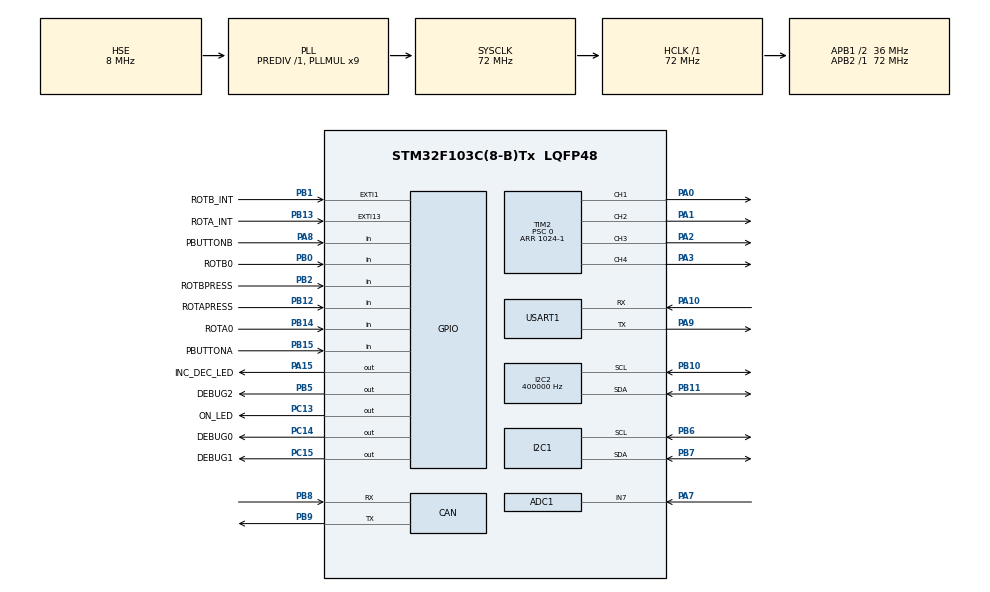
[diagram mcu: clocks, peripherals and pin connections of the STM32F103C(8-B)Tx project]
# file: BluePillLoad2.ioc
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ADC1.Channel-3\#ChannelRegularConversion=ADC_CHANNEL_7
ADC1.NbrOfConversionFlag=1
ADC1.Rank-3\#ChannelRegularConversion=1
ADC1.SamplingTime-3\#ChannelRegularConversion=ADC_SAMPLETIME_1CYCLE_5
ADC1.master=1
CAN.CalculateTimeBit=1333
CAN.CalculateTimeQuantum=444.44444444444446
Dma.I2C1_RX.0.Direction=DMA_PERIPH_TO_MEMORY
Dma.I2C1_RX.0.Instance=DMA1_Channel7
Dma.I2C1_RX.0.MemDataAlignment=DMA_MDATAALIGN_BYTE
Dma.I2C1_RX.0.MemInc=DMA_MINC_ENABLE
Dma.I2C1_RX.0.Mode=DMA_NORMAL
Dma.I2C1_RX.0.PeriphDataAlignment=DMA_PDATAALIGN_BYTE
Dma.I2C1_RX.0.PeriphInc=DMA_PINC_DISABLE
Dma.I2C1_RX.0.Priority=DMA_PRIORITY_LOW
Dma.I2C1_TX.1.Direction=DMA_MEMORY_TO_PERIPH
Dma.I2C1_TX.1.Instance=DMA1_Channel6
Dma.I2C1_TX.1.MemDataAlignment=DMA_MDATAALIGN_BYTE
Dma.I2C1_TX.1.MemInc=DMA_MINC_ENABLE
Dma.I2C1_TX.1.Mode=DMA_NORMAL
Dma.I2C1_TX.1.PeriphDataAlignment=DMA_PDATAALIGN_BYTE
Dma.I2C1_TX.1.PeriphInc=DMA_PINC_DISABLE
Dma.I2C1_TX.1.Priority=DMA_PRIORITY_LOW
Dma.I2C2_RX.2.Direction=DMA_PERIPH_TO_MEMORY
Dma.I2C2_RX.2.Instance=DMA1_Channel5
Dma.I2C2_RX.2.MemDataAlignment=DMA_MDATAALIGN_BYTE
Dma.I2C2_RX.2.MemInc=DMA_MINC_ENABLE
Dma.I2C2_RX.2.Mode=DMA_NORMAL
Dma.I2C2_RX.2.PeriphDataAlignment=DMA_PDATAALIGN_BYTE
Dma.I2C2_RX.2.PeriphInc=DMA_PINC_DISABLE
Dma.I2C2_RX.2.Priority=DMA_PRIORITY_LOW
Dma.I2C2_TX.3.Direction=DMA_MEMORY_TO_PERIPH
Dma.I2C2_TX.3.Instance=DMA1_Channel4
Dma.I2C2_TX.3.MemDataAlignment=DMA_MDATAALIGN_BYTE
Dma.I2C2_TX.3.MemInc=DMA_MINC_ENABLE
Dma.I2C2_TX.3.Mode=DMA_NORMAL
Dma.I2C2_TX.3.PeriphDataAlignment=DMA_PDATAALIGN_BYTE
Dma.I2C2_TX.3.PeriphInc=DMA_PINC_DISABLE
Dma.I2C2_TX.3.Priority=DMA_PRIORITY_LOW
Dma.Request0=I2C1_RX
Dma.Request1=I2C1_TX
Dma.Request2=I2C2_RX
Dma.Request3=I2C2_TX
I2C1.I2C_Mode=I2C_Fast
I2C2.ClockSpeed=400000
I2C2.I2C_Mode=I2C_Fast
Mcu.Family=STM32F1
Mcu.Name=STM32F103C(8-B)Tx
Mcu.Package=LQFP48
NVIC.ADC1_2_IRQn=true\:0\:0\:false\:false\:true\:true\:true
NVIC.DMA1_Channel4_IRQn=true\:0\:0\:false\:false\:true\:false\:true
NVIC.DMA1_Channel5_IRQn=true\:0\:0\:false\:false\:true\:false\:true
NVIC.DMA1_Channel6_IRQn=true\:0\:0\:false\:false\:true\:false\:true
NVIC.DMA1_Channel7_IRQn=true\:0\:0\:false\:false\:true\:false\:true
NVIC.EXTI15_10_IRQn=true\:0\:0\:false\:false\:true\:true\:true
NVIC.EXTI1_IRQn=true\:0\:0\:false\:false\:true\:true\:true
NVIC.I2C1_ER_IRQn=true\:0\:0\:false\:false\:true\:true\:true
NVIC.I2C1_EV_IRQn=true\:0\:0\:false\:false\:true\:true\:true
NVIC.I2C2_ER_IRQn=true\:0\:0\:false\:false\:true\:true\:true
NVIC.I2C2_EV_IRQn=true\:0\:0\:false\:false\:true\:true\:true
NVIC.PriorityGroup=NVIC_PRIORITYGROUP_4
NVIC.USART1_IRQn=true\:0\:0\:false\:false\:true\:true\:true
PA0-WKUP.Signal=S_TIM2_CH1_ETR
PA1.Signal=S_TIM2_CH2
PA10.GPIO_PuPd=GPIO_PULLUP
PA10.Mode=Asynchronous
PA10.Signal=USART1_RX
PA13.Mode=Serial_Wire
PA13.Signal=SYS_JTMS-SWDIO
PA14.Mode=Serial_Wire
PA14.Signal=SYS_JTCK-SWCLK
PA15.GPIO_Label=INC_DEC_LED
PA15.Signal=GPIO_Output
PA2.Signal=S_TIM2_CH3
PA3.Signal=S_TIM2_CH4
PA7.Signal=ADCx_IN7
PA8.GPIO_Label=PBUTTONB
PA8.GPIO_PuPd=GPIO_PULLUP
PA8.Signal=GPIO_Input
PA9.Mode=Asynchronous
PA9.Signal=USART1_TX
PB0.GPIO_Label=ROTB0
PB0.GPIO_PuPd=GPIO_PULLUP
PB0.Signal=GPIO_Input
PB1.GPIO_Label=ROTB_INT
PB1.GPIO_PuPd=GPIO_PULLUP
PB1.Signal=GPXTI1
PB10.Mode=I2C
PB10.Signal=I2C2_SCL
PB11.Mode=I2C
PB11.Signal=I2C2_SDA
PB12.GPIO_Label=ROTAPRESS
PB12.GPIO_PuPd=GPIO_PULLUP
PB12.Signal=GPIO_Input
PB13.GPIO_Label=ROTA_INT
PB13.GPIO_PuPd=GPIO_PULLUP
PB13.Signal=GPXTI13
PB14.GPIO_Label=ROTA0
PB14.GPIO_PuPd=GPIO_PULLUP
PB14.Signal=GPIO_Input
PB15.GPIO_Label=PBUTTONA
PB15.GPIO_PuPd=GPIO_PULLUP
PB15.Signal=GPIO_Input
PB2.GPIO_Label=ROTBPRESS
PB2.GPIO_PuPd=GPIO_PULLUP
PB2.Signal=GPIO_Input
PB5.GPIO_Label=DEBUG2
PB5.Signal=GPIO_Output
PB6.Mode=I2C
PB6.Signal=I2C1_SCL
PB7.Mode=I2C
PB7.Signal=I2C1_SDA
PB8.Mode=Master
PB8.Signal=CAN_RX
PB9.Mode=Master
PB9.Signal=CAN_TX
PC13-TAMPER-RTC.GPIO_Label=ON_LED
PC13-TAMPER-RTC.Signal=GPIO_Output
PC14-OSC32_IN.GPIO_Label=DEBUG0
PC14-OSC32_IN.Signal=GPIO_Output
PC15-OSC32_OUT.GPIO_Label=DEBUG1
PC15-OSC32_OUT.Signal=GPIO_Output
PD0-OSC_IN.Mode=HSE-External-Oscillator
PD0-OSC_IN.Signal=RCC_OSC_IN
PD1-OSC_OUT.Mode=HSE-External-Oscillator
PD1-OSC_OUT.Signal=RCC_OSC_OUT
ProjectManager.HeapSize=0x200
ProjectManager.StackSize=0x400
ProjectManager.TargetToolchain=STM32CubeIDE
RCC.ADCPresc=RCC_ADCPCLK2_DIV6
RCC.AHBFreq_Value=72000000
RCC.APB1CLKDivider=RCC_HCLK_DIV2
RCC.APB1Freq_Value=36000000
RCC.APB1TimFreq_Value=72000000
RCC.APB2Freq_Value=72000000
RCC.APB2TimFreq_Value=72000000
RCC.HCLKFreq_Value=72000000
RCC.PLLMUL=RCC_PLL_MUL9
RCC.PLLSourceVirtual=RCC_PLLSOURCE_HSE
RCC.SYSCLKFreq_VALUE=72000000
RCC.SYSCLKSource=RCC_SYSCLKSOURCE_PLLCLK
RCC.USBFreq_Value=48000000
RCC.USBPrescaler=RCC_USBCLKSOURCE_PLL_DIV1_5
SH.ADCx_IN7.0=ADC1_IN7,IN7
SH.S_TIM2_CH1_ETR.0=TIM2_CH1,PWM Generation1 CH1
SH.S_TIM2_CH2.0=TIM2_CH2,PWM Generation2 CH2
SH.S_TIM2_CH3.0=TIM2_CH3,PWM Generation3 CH3
SH.S_TIM2_CH4.0=TIM2_CH4,PWM Generation4 CH4
TIM2.AutoReloadPreload=TIM_AUTORELOAD_PRELOAD_ENABLE
TIM2.Channel-PWM\ Generation1\ CH1=TIM_CHANNEL_1
TIM2.Channel-PWM\ Generation2\ CH2=TIM_CHANNEL_2
TIM2.Channel-PWM\ Generation3\ CH3=TIM_CHANNEL_3
TIM2.Channel-PWM\ Generation4\ CH4=TIM_CHANNEL_4
TIM2.ClockDivision=TIM_CLOCKDIVISION_DIV1
TIM2.OC1Preload_PWM=DISABLE
TIM2.OC2Preload_PWM=DISABLE
TIM2.OC3Preload_PWM=DISABLE
TIM2.OC4Preload_PWM=DISABLE
TIM2.OCPolarity_1=TIM_OCPOLARITY_HIGH
TIM2.Period=1024-1
TIM2.Prescaler=0
USART1.VirtualMode=VM_ASYNC
VP_TIM2_VS_ClockSourceINT.Mode=Internal
board=custom

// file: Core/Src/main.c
/* USER CODE BEGIN Header */
/**
  ******************************************************************************
  * @file           : main.c
  * @brief          : Main program body
  ******************************************************************************
  * @attention
  *
  * <h2><center>&copy; Copyright (c) 2023 STMicroelectronics.
  * All rights reserved.</center></h2>
  *
  * This software component is licensed by ST under BSD 3-Clause license,
  * the "License"; You may not use this file except in compliance with the
  * License. You may obtain a copy of the License at:
  *                        opensource.org/licenses/BSD-3-Clause
  *
  ******************************************************************************
  */
/* USER CODE END Header */

#include "main.h"

/* USER CODE BEGIN Includes */
#include "load.h"
#include "debug_pin.h"
#include "ina226.h"
#include "serial.h"
#include "i2c_check.h"
#include "i2c_lcd.h"

/* USER CODE END Includes */

ADC_HandleTypeDef hadc1;

CAN_HandleTypeDef hcan;

I2C_HandleTypeDef hi2c1;
I2C_HandleTypeDef hi2c2;
DMA_HandleTypeDef hdma_i2c1_rx;
DMA_HandleTypeDef hdma_i2c1_tx;
DMA_HandleTypeDef hdma_i2c2_rx;
DMA_HandleTypeDef hdma_i2c2_tx;

TIM_HandleTypeDef htim2;

UART_HandleTypeDef huart1;

/* USER CODE BEGIN PV */

static struct i2c_lcd __lcd;
struct i2c_lcd *lcd = &__lcd;

/* USER CODE END PV */

void SystemClock_Config(void);
static void MX_GPIO_Init(void);
static void MX_DMA_Init(void);
static void MX_TIM2_Init(void);
static void MX_I2C2_Init(void);
static void MX_ADC1_Init(void);
static void MX_I2C1_Init(void);
static void MX_CAN_Init(void);
static void MX_USART1_UART_Init(void);

/* USER CODE BEGIN 0 */
struct ina226_ctl ina226;

void check_i2c_buses(void)
{
	serial_send_str("Scanning i2c bus hi2c1...\n");
	i2c_list_bus(&hi2c1);
	serial_send_str("Scanning i2c bus hi2c2...\n");
	i2c_list_bus(&hi2c2);
}

void lcd_test(struct i2c_lcd *lcd)
{
	 /* Clear buffer */
	  HD44780_Clear(lcd);

	  /* Hide characters */
	  HD44780_SetDisplayVisible(lcd, 0);
	  HD44780_SetCursorVisible(lcd, 1);
	  HD44780_SetCursor(lcd, 0,0);
	  HD44780_PrintStr(lcd, "HELLO STM32!!!");
	  HD44780_PrintSpecialChar(lcd, 0);

	  /* Show characters */
	  HD44780_SetDisplayVisible(lcd, 1);

	  /* Move position */
	  HD44780_SetCursor(lcd, 0, 1);
	  HD44780_PrintStr(lcd, "BYE STM32!!!");
	  HD44780_PrintSpecialChar(lcd, 1);
	  HD44780_SetCursor(lcd, 0, 2);
	  HD44780_PrintStr(lcd, "Line 3");

	  HD44780_SetCursor(lcd, 0, 23);
	  HD44780_PrintStr(lcd, "Line 4-8901234567890");
	  /* Blink cursor */
	  HD44780_SetBlink(lcd,1);
	  HD44780_SetBlink(lcd, 0);
	  HD44780_SetCursorVisible(lcd, 1);
	  HD44780_SetCursorVisible(lcd, 0);
	  HD44780_SetBacklight(lcd,0);
	  HD44780_SetBacklight(lcd, 1);
}
/* USER CODE END 0 */

int main(void)
{

  /* MCU Configuration--------------------------------------------------------*/

  /* Reset of all peripherals, Initializes the Flash interface and the Systick. */
  HAL_Init();

  /* Configure the system clock */
  SystemClock_Config();

  /* Initialize all configured peripherals */
  MX_GPIO_Init();
  MX_DMA_Init();
  MX_TIM2_Init();
  MX_I2C2_Init();
  MX_ADC1_Init();
  MX_I2C1_Init();
  MX_CAN_Init();
  MX_USART1_UART_Init();
  /* USER CODE BEGIN 2 */

  TIM2->CCR1 = 0;
  TIM2->CCR2 = 0;
  HAL_TIM_PWM_Start(&htim2, TIM_CHANNEL_1);
  HAL_TIM_PWM_Start(&htim2, TIM_CHANNEL_2);

  /* USER CODE BEGIN 2 */

  serial_send_str("main() starting\n");

  debug_pin_init();
  load_init();
  //check_i2c_buses();
  serial_send_str("ina226 init...\n");
  ina226_init(&ina226, 0x40);
  serial_send_str("lcd init...\n");
  lcd = &__lcd;
  HD44780_Init(lcd, &hi2c2, 0x27, 4);
  //serial_send_str("lcd test...\n");
  //lcd_test();

  HD44780_SetDisplayVisible(lcd, 1);
  HD44780_SetCursorVisible(lcd, 0);
  HD44780_SetBacklight(lcd, 1);

  serial_send_str("main loop starting\n");

  /* USER CODE END 2 */

  /* Infinite loop */
  while (1)
  {

    /* USER CODE BEGIN 3 */
	load_poll();

	/* Clear debug to show end of activity.
	 * debug_0 is low while sleeping.
	 */
	debug_0(0);

	__WFI();

	/*
	 * Although we set debug pin here, it should also be set in ISRs.
	 */
	debug_0(1);
  }
  /* USER CODE END 3 */
}

void SystemClock_Config(void)
{
  RCC_OscInitTypeDef RCC_OscInitStruct = {0};
  RCC_ClkInitTypeDef RCC_ClkInitStruct = {0};
  RCC_PeriphCLKInitTypeDef PeriphClkInit = {0};

  /** Initializes the CPU, AHB and APB busses clocks
  */
  RCC_OscInitStruct.OscillatorType = RCC_OSCILLATORTYPE_HSE;
  RCC_OscInitStruct.HSEState = RCC_HSE_ON;
  RCC_OscInitStruct.HSEPredivValue = RCC_HSE_PREDIV_DIV1;
  RCC_OscInitStruct.HSIState = RCC_HSI_ON;
  RCC_OscInitStruct.PLL.PLLState = RCC_PLL_ON;
  RCC_OscInitStruct.PLL.PLLSource = RCC_PLLSOURCE_HSE;
  RCC_OscInitStruct.PLL.PLLMUL = RCC_PLL_MUL9;
  if (HAL_RCC_OscConfig(&RCC_OscInitStruct) != HAL_OK)
  {
    Error_Handler();
  }
  /** Initializes the CPU, AHB and APB busses clocks
  */
  RCC_ClkInitStruct.ClockType = RCC_CLOCKTYPE_HCLK|RCC_CLOCKTYPE_SYSCLK
                              |RCC_CLOCKTYPE_PCLK1|RCC_CLOCKTYPE_PCLK2;
  RCC_ClkInitStruct.SYSCLKSource = RCC_SYSCLKSOURCE_PLLCLK;
  RCC_ClkInitStruct.AHBCLKDivider = RCC_SYSCLK_DIV1;
  RCC_ClkInitStruct.APB1CLKDivider = RCC_HCLK_DIV2;
  RCC_ClkInitStruct.APB2CLKDivider = RCC_HCLK_DIV1;

  if (HAL_RCC_ClockConfig(&RCC_ClkInitStruct, FLASH_LATENCY_2) != HAL_OK)
  {
    Error_Handler();
  }
  PeriphClkInit.PeriphClockSelection = RCC_PERIPHCLK_ADC;
  PeriphClkInit.AdcClockSelection = RCC_ADCPCLK2_DIV6;
  if (HAL_RCCEx_PeriphCLKConfig(&PeriphClkInit) != HAL_OK)
  {
    Error_Handler();
  }
}

static void MX_ADC1_Init(void)
{

  ADC_ChannelConfTypeDef sConfig = {0};

  /** Common config
  */
  hadc1.Instance = ADC1;
  hadc1.Init.ScanConvMode = ADC_SCAN_DISABLE;
  hadc1.Init.ContinuousConvMode = DISABLE;
  hadc1.Init.DiscontinuousConvMode = DISABLE;
  hadc1.Init.ExternalTrigConv = ADC_SOFTWARE_START;
  hadc1.Init.DataAlign = ADC_DATAALIGN_RIGHT;
  hadc1.Init.NbrOfConversion = 1;
  if (HAL_ADC_Init(&hadc1) != HAL_OK)
  {
    Error_Handler();
  }
  /** Configure Regular Channel
  */
  sConfig.Channel = ADC_CHANNEL_7;
  sConfig.Rank = ADC_REGULAR_RANK_1;
  sConfig.SamplingTime = ADC_SAMPLETIME_1CYCLE_5;
  if (HAL_ADC_ConfigChannel(&hadc1, &sConfig) != HAL_OK)
  {
    Error_Handler();
  }

}

static void MX_CAN_Init(void)
{

  hcan.Instance = CAN1;
  hcan.Init.Prescaler = 16;
  hcan.Init.Mode = CAN_MODE_NORMAL;
  hcan.Init.SyncJumpWidth = CAN_SJW_1TQ;
  hcan.Init.TimeSeg1 = CAN_BS1_1TQ;
  hcan.Init.TimeSeg2 = CAN_BS2_1TQ;
  hcan.Init.TimeTriggeredMode = DISABLE;
  hcan.Init.AutoBusOff = DISABLE;
  hcan.Init.AutoWakeUp = DISABLE;
  hcan.Init.AutoRetransmission = DISABLE;
  hcan.Init.ReceiveFifoLocked = DISABLE;
  hcan.Init.TransmitFifoPriority = DISABLE;
  if (HAL_CAN_Init(&hcan) != HAL_OK)
  {
    Error_Handler();
  }

}

static void MX_I2C1_Init(void)
{

  hi2c1.Instance = I2C1;
  hi2c1.Init.ClockSpeed = 400000;
  hi2c1.Init.DutyCycle = I2C_DUTYCYCLE_2;
  hi2c1.Init.OwnAddress1 = 0;
  hi2c1.Init.AddressingMode = I2C_ADDRESSINGMODE_7BIT;
  hi2c1.Init.DualAddressMode = I2C_DUALADDRESS_DISABLE;
  hi2c1.Init.OwnAddress2 = 0;
  hi2c1.Init.GeneralCallMode = I2C_GENERALCALL_DISABLE;
  hi2c1.Init.NoStretchMode = I2C_NOSTRETCH_DISABLE;
  if (HAL_I2C_Init(&hi2c1) != HAL_OK)
  {
    Error_Handler();
  }

}

static void MX_I2C2_Init(void)
{

  hi2c2.Instance = I2C2;
  hi2c2.Init.ClockSpeed = 400000;
  hi2c2.Init.DutyCycle = I2C_DUTYCYCLE_2;
  hi2c2.Init.OwnAddress1 = 0;
  hi2c2.Init.AddressingMode = I2C_ADDRESSINGMODE_7BIT;
  hi2c2.Init.DualAddressMode = I2C_DUALADDRESS_DISABLE;
  hi2c2.Init.OwnAddress2 = 0;
  hi2c2.Init.GeneralCallMode = I2C_GENERALCALL_DISABLE;
  hi2c2.Init.NoStretchMode = I2C_NOSTRETCH_DISABLE;
  if (HAL_I2C_Init(&hi2c2) != HAL_OK)
  {
    Error_Handler();
  }

}

static void MX_TIM2_Init(void)
{

  TIM_ClockConfigTypeDef sClockSourceConfig = {0};
  TIM_MasterConfigTypeDef sMasterConfig = {0};
  TIM_OC_InitTypeDef sConfigOC = {0};

  htim2.Instance = TIM2;
  htim2.Init.Prescaler = 0;
  htim2.Init.CounterMode = TIM_COUNTERMODE_UP;
  htim2.Init.Period = 1024-1;
  htim2.Init.ClockDivision = TIM_CLOCKDIVISION_DIV1;
  htim2.Init.AutoReloadPreload = TIM_AUTORELOAD_PRELOAD_ENABLE;
  if (HAL_TIM_Base_Init(&htim2) != HAL_OK)
  {
    Error_Handler();
  }
  sClockSourceConfig.ClockSource = TIM_CLOCKSOURCE_INTERNAL;
  if (HAL_TIM_ConfigClockSource(&htim2, &sClockSourceConfig) != HAL_OK)
  {
    Error_Handler();
  }
  if (HAL_TIM_PWM_Init(&htim2) != HAL_OK)
  {
    Error_Handler();
  }
  sMasterConfig.MasterOutputTrigger = TIM_TRGO_RESET;
  sMasterConfig.MasterSlaveMode = TIM_MASTERSLAVEMODE_DISABLE;
  if (HAL_TIMEx_MasterConfigSynchronization(&htim2, &sMasterConfig) != HAL_OK)
  {
    Error_Handler();
  }
  sConfigOC.OCMode = TIM_OCMODE_PWM1;
  sConfigOC.Pulse = 0;
  sConfigOC.OCPolarity = TIM_OCPOLARITY_HIGH;
  sConfigOC.OCFastMode = TIM_OCFAST_DISABLE;
  if (HAL_TIM_PWM_ConfigChannel(&htim2, &sConfigOC, TIM_CHANNEL_1) != HAL_OK)
  {
    Error_Handler();
  }
  __HAL_TIM_DISABLE_OCxPRELOAD(&htim2, TIM_CHANNEL_1);
  if (HAL_TIM_PWM_ConfigChannel(&htim2, &sConfigOC, TIM_CHANNEL_2) != HAL_OK)
  {
    Error_Handler();
  }
  __HAL_TIM_DISABLE_OCxPRELOAD(&htim2, TIM_CHANNEL_2);
  if (HAL_TIM_PWM_ConfigChannel(&htim2, &sConfigOC, TIM_CHANNEL_3) != HAL_OK)
  {
    Error_Handler();
  }
  __HAL_TIM_DISABLE_OCxPRELOAD(&htim2, TIM_CHANNEL_3);
  if (HAL_TIM_PWM_ConfigChannel(&htim2, &sConfigOC, TIM_CHANNEL_4) != HAL_OK)
  {
    Error_Handler();
  }
  __HAL_TIM_DISABLE_OCxPRELOAD(&htim2, TIM_CHANNEL_4);
  HAL_TIM_MspPostInit(&htim2);

}

static void MX_USART1_UART_Init(void)
{

  huart1.Instance = USART1;
  huart1.Init.BaudRate = 115200;
  huart1.Init.WordLength = UART_WORDLENGTH_8B;
  huart1.Init.StopBits = UART_STOPBITS_1;
  huart1.Init.Parity = UART_PARITY_NONE;
  huart1.Init.Mode = UART_MODE_TX_RX;
  huart1.Init.HwFlowCtl = UART_HWCONTROL_NONE;
  huart1.Init.OverSampling = UART_OVERSAMPLING_16;
  if (HAL_UART_Init(&huart1) != HAL_OK)
  {
    Error_Handler();
  }

}

static void MX_DMA_Init(void)
{

  /* DMA controller clock enable */
  __HAL_RCC_DMA1_CLK_ENABLE();

  /* DMA interrupt init */
  /* DMA1_Channel4_IRQn interrupt configuration */
  HAL_NVIC_SetPriority(DMA1_Channel4_IRQn, 0, 0);
  HAL_NVIC_EnableIRQ(DMA1_Channel4_IRQn);
  /* DMA1_Channel5_IRQn interrupt configuration */
  HAL_NVIC_SetPriority(DMA1_Channel5_IRQn, 0, 0);
  HAL_NVIC_EnableIRQ(DMA1_Channel5_IRQn);
  /* DMA1_Channel6_IRQn interrupt configuration */
  HAL_NVIC_SetPriority(DMA1_Channel6_IRQn, 0, 0);
  HAL_NVIC_EnableIRQ(DMA1_Channel6_IRQn);
  /* DMA1_Channel7_IRQn interrupt configuration */
  HAL_NVIC_SetPriority(DMA1_Channel7_IRQn, 0, 0);
  HAL_NVIC_EnableIRQ(DMA1_Channel7_IRQn);

}

static void MX_GPIO_Init(void)
{
  GPIO_InitTypeDef GPIO_InitStruct = {0};

  /* GPIO Ports Clock Enable */
  __HAL_RCC_GPIOC_CLK_ENABLE();
  __HAL_RCC_GPIOD_CLK_ENABLE();
  __HAL_RCC_GPIOA_CLK_ENABLE();
  __HAL_RCC_GPIOB_CLK_ENABLE();

  /*Configure GPIO pin Output Level */
  HAL_GPIO_WritePin(GPIOC, ON_LED_Pin|DEBUG0_Pin|DEBUG1_Pin, GPIO_PIN_RESET);

  /*Configure GPIO pin Output Level */
  HAL_GPIO_WritePin(INC_DEC_LED_GPIO_Port, INC_DEC_LED_Pin, GPIO_PIN_RESET);

  /*Configure GPIO pin Output Level */
  HAL_GPIO_WritePin(DEBUG2_GPIO_Port, DEBUG2_Pin, GPIO_PIN_RESET);

  /*Configure GPIO pins : ON_LED_Pin DEBUG0_Pin DEBUG1_Pin */
  GPIO_InitStruct.Pin = ON_LED_Pin|DEBUG0_Pin|DEBUG1_Pin;
  GPIO_InitStruct.Mode = GPIO_MODE_OUTPUT_PP;
  GPIO_InitStruct.Pull = GPIO_NOPULL;
  GPIO_InitStruct.Speed = GPIO_SPEED_FREQ_LOW;
  HAL_GPIO_Init(GPIOC, &GPIO_InitStruct);

  /*Configure GPIO pins : ROTB0_Pin ROTBPRESS_Pin ROTAPRESS_Pin ROTA0_Pin
                           PBUTTONA_Pin */
  GPIO_InitStruct.Pin = ROTB0_Pin|ROTBPRESS_Pin|ROTAPRESS_Pin|ROTA0_Pin
                          |PBUTTONA_Pin;
  GPIO_InitStruct.Mode = GPIO_MODE_INPUT;
  GPIO_InitStruct.Pull = GPIO_PULLUP;
  HAL_GPIO_Init(GPIOB, &GPIO_InitStruct);

  /*Configure GPIO pins : ROTB_INT_Pin ROTA_INT_Pin */
  GPIO_InitStruct.Pin = ROTB_INT_Pin|ROTA_INT_Pin;
  GPIO_InitStruct.Mode = GPIO_MODE_IT_RISING;
  GPIO_InitStruct.Pull = GPIO_PULLUP;
  HAL_GPIO_Init(GPIOB, &GPIO_InitStruct);

  /*Configure GPIO pin : PBUTTONB_Pin */
  GPIO_InitStruct.Pin = PBUTTONB_Pin;
  GPIO_InitStruct.Mode = GPIO_MODE_INPUT;
  GPIO_InitStruct.Pull = GPIO_PULLUP;
  HAL_GPIO_Init(PBUTTONB_GPIO_Port, &GPIO_InitStruct);

  /*Configure GPIO pin : INC_DEC_LED_Pin */
  GPIO_InitStruct.Pin = INC_DEC_LED_Pin;
  GPIO_InitStruct.Mode = GPIO_MODE_OUTPUT_PP;
  GPIO_InitStruct.Pull = GPIO_NOPULL;
  GPIO_InitStruct.Speed = GPIO_SPEED_FREQ_LOW;
  HAL_GPIO_Init(INC_DEC_LED_GPIO_Port, &GPIO_InitStruct);

  /*Configure GPIO pin : DEBUG2_Pin */
  GPIO_InitStruct.Pin = DEBUG2_Pin;
  GPIO_InitStruct.Mode = GPIO_MODE_OUTPUT_PP;
  GPIO_InitStruct.Pull = GPIO_NOPULL;
  GPIO_InitStruct.Speed = GPIO_SPEED_FREQ_LOW;
  HAL_GPIO_Init(DEBUG2_GPIO_Port, &GPIO_InitStruct);

  /* EXTI interrupt init*/
  HAL_NVIC_SetPriority(EXTI1_IRQn, 0, 0);
  HAL_NVIC_EnableIRQ(EXTI1_IRQn);

  HAL_NVIC_SetPriority(EXTI15_10_IRQn, 0, 0);
  HAL_NVIC_EnableIRQ(EXTI15_10_IRQn);

}

/* USER CODE BEGIN 4 */

static uint32_t tick_counter;

uint32_t get_tick(void)
{
	return tick_counter;
}
void systick_hook(void)
{
	debug_0(1);

	/*
	 * The load ticks are split in two parts.
	 */
	load_tick0();

	tick_counter++;

	/* Place any more tick processing here. */

	load_tick1();
}

void HAL_GPIO_EXTI_Callback(uint16_t GPIO_Pin)
{
	debug_0(1);
	load_rotation_isr(GPIO_Pin);
}
/* USER CODE END 4 */

void Error_Handler(void)
{
}

/************************ (C) COPYRIGHT STMicroelectronics *****END OF FILE****/
